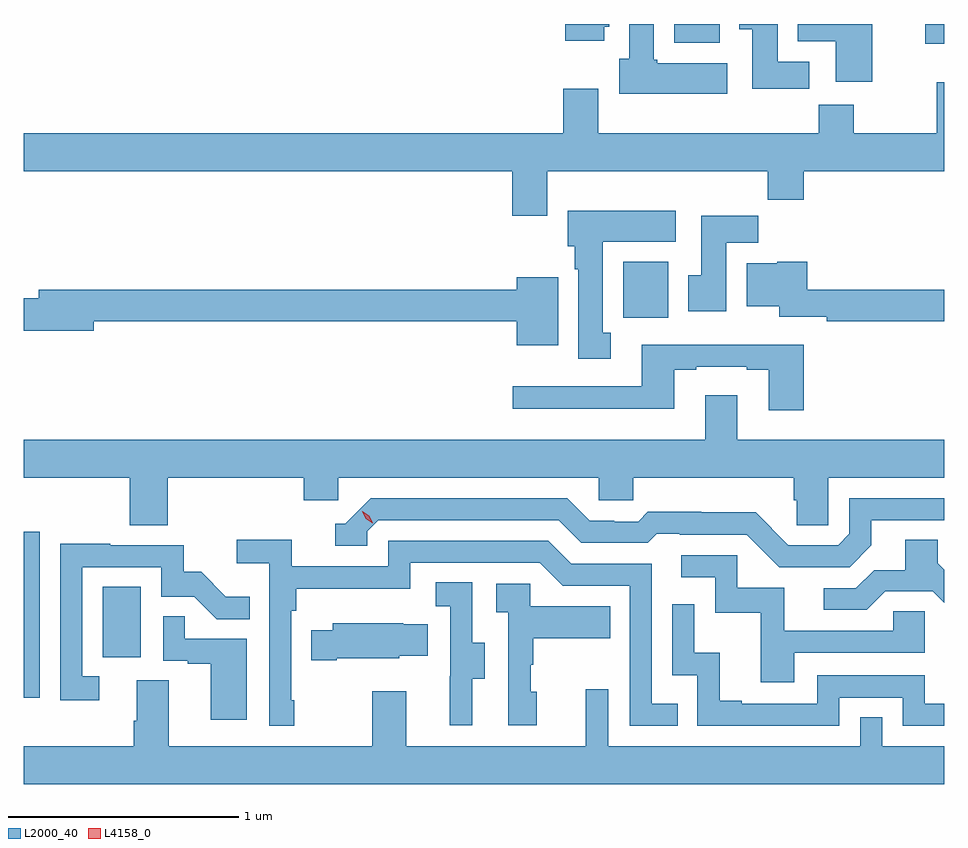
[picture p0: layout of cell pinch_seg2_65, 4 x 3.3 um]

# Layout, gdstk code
import gdstk
lib = gdstk.Library(unit=1e-6, precision=1e-09)
def R(c, l, rs):  # rectangles x0, y0, x1, y1
    for r in rs: c.add(gdstk.rectangle(r[:2], r[2:], *l))
def P(c, l, *ps):  # polygons
    for p in ps: c.add(gdstk.Polygon(p, *l))
L2000_40 = (2000, 40)
L4158_0 = (4158, 0)

pinch_seg2_65 = lib.new_cell('pinch_seg2_65')
R(pinch_seg2_65, L2000_40, [(1031.221,649.344,1031.29,650.065), (1031.564,649.518,1031.728,649.825), (1033.826,650.996,1034.023,651.238), (1035.14,652.187,1035.221,652.272), (1034.048,652.19,1034.245,652.272)])
P(pinch_seg2_65, L2000_40, [(1033.744,652.26),(1033.765,652.26),(1033.765,652.272),(1033.574,652.272),(1033.574,652.2),(1033.744,652.2)],
  [(1034.278,652.102),(1033.974,652.102),(1033.974,652.116),(1033.96,652.116),(1033.96,652.272),(1033.853,652.272),(1033.853,652.122),(1033.808,652.122),(1033.808,651.968),(1034.278,651.968)],
  [(1034.636,652.108),(1034.497,652.108),(1034.497,652.272),(1034.33,652.272),(1034.33,652.249),(1034.387,652.249),(1034.387,651.99),(1034.636,651.99)],
  [(1034.908,652.272),(1034.585,652.272),(1034.585,652.196),(1034.75,652.196),(1034.75,652.02),(1034.908,652.02)],
  [(1033.495,651.632),(1034.455,651.632),(1034.455,651.508),(1034.612,651.508),(1034.612,651.632),(1035.221,651.632),(1035.221,652.018),(1035.189,652.018),(1035.189,651.796),(1034.829,651.796),(1034.829,651.92),(1034.677,651.92),(1034.677,651.796),(1033.717,651.796),(1033.717,651.991),(1033.565,651.991),(1033.565,651.796),(1031.221,651.796),(1031.221,651.632),(1033.343,651.632),(1033.343,651.438),(1033.495,651.438)],
  [(1033.771,650.93),(1033.738,650.93),(1033.738,651.326),(1034.055,651.326),(1034.055,651.46),(1033.586,651.46),(1033.586,651.306),(1033.616,651.306),(1033.616,651.206),(1033.631,651.206),(1033.631,650.817),(1033.771,650.817)],
  [(1034.275,651.32),(1034.414,651.32),(1034.414,651.439),(1034.165,651.439),(1034.165,651.18),(1034.108,651.18),(1034.108,651.024),(1034.275,651.024)],
  [(1035.221,651.116),(1034.627,651.116),(1034.627,651.238),(1034.496,651.238),(1034.496,651.232),(1034.363,651.232),(1034.363,651.044),(1034.504,651.044),(1034.504,651),(1034.71,651),(1034.71,650.98),(1035.221,650.98)],
  [(1033.543,651.172),(1033.364,651.172),(1033.364,651.116),(1031.285,651.116),(1031.285,651.08),(1031.221,651.08),(1031.221,650.938),(1031.524,650.938),(1031.524,650.98),(1033.364,650.98),(1033.364,650.876),(1033.543,650.876)],
  [(1034.612,650.878),(1033.907,650.878),(1033.907,650.697),(1033.347,650.697),(1033.347,650.6),(1034.047,650.6),(1034.047,650.769),(1034.143,650.769),(1034.143,650.781),(1034.363,650.781),(1034.363,650.769),(1034.459,650.769),(1034.459,650.592),(1034.612,650.592)],
  [(1031.221,650.3),(1031.68,650.3),(1031.68,650.092),(1031.846,650.092),(1031.846,650.3),(1032.437,650.3),(1032.437,650.202),(1032.588,650.202),(1032.588,650.3),(1033.719,650.3),(1033.719,650.202),(1033.869,650.202),(1033.869,650.3),(1034.567,650.3),(1034.567,650.202),(1034.581,650.202),(1034.581,650.092),(1034.718,650.092),(1034.718,650.3),(1035.221,650.3),(1035.221,650.464),(1034.323,650.464),(1034.323,650.659),(1034.183,650.659),(1034.183,650.464),(1031.221,650.464)],
  [(1034.905,650.005),(1034.905,650.115),(1035.221,650.115),(1035.221,650.211),(1034.808,650.211),(1034.808,650.055),(1034.76,650.007),(1034.544,650.007),(1034.402,650.149),(1034.166,650.149),(1034.166,650.152),(1033.933,650.152),(1033.891,650.109),(1033.788,650.109),(1033.788,650.112),(1033.681,650.112),(1033.582,650.211),(1032.729,650.211),(1032.618,650.1),(1032.575,650.1),(1032.575,650.004),(1032.714,650.004),(1032.714,650.067),(1032.762,650.115),(1033.545,650.115),(1033.644,650.016),(1033.933,650.016),(1033.972,650.055),(1034.071,650.055),(1034.071,650.052),(1034.364,650.052),(1034.505,649.911),(1034.811,649.911)],
  [(1032.397,649.333),(1032.384,649.333),(1032.384,649.721),(1032.404,649.721),(1032.404,649.817),(1032.9,649.817),(1032.9,649.929),(1033.464,649.929),(1033.563,649.83),(1033.854,649.83),(1033.854,649.221),(1034.063,649.221),(1034.063,649.317),(1033.95,649.317),(1033.95,649.926),(1033.6,649.926),(1033.501,650.025),(1032.804,650.025),(1032.804,649.914),(1032.386,649.914),(1032.386,650.03),(1032.147,650.03),(1032.147,649.928),(1032.288,649.928),(1032.288,649.221),(1032.397,649.221)],
  [(1034.965,649.806),(1035.171,649.806),(1035.221,649.756),(1035.221,649.9),(1035.193,649.928),(1035.193,650.03),(1035.053,650.03),(1035.053,649.898),(1034.918,649.898),(1034.838,649.818),(1034.697,649.818),(1034.697,649.725),(1034.884,649.725)],
  [(1031.548,649.437),(1031.475,649.437),(1031.475,649.911),(1031.817,649.911),(1031.817,649.782),(1031.961,649.782),(1032.059,649.684),(1032.203,649.684),(1032.203,649.783),(1032.099,649.783),(1031.992,649.89),(1031.916,649.89),(1031.916,650.007),(1031.597,650.007),(1031.597,650.012),(1031.379,650.012),(1031.379,649.332),(1031.548,649.332)],
  [(1034.569,649.539),(1035.138,649.539),(1035.138,649.719),(1035.001,649.719),(1035.001,649.635),(1034.527,649.635),(1034.527,649.821),(1034.322,649.821),(1034.322,649.962),(1034.079,649.962),(1034.079,649.866),(1034.226,649.866),(1034.226,649.713),(1034.425,649.713),(1034.425,649.41),(1034.569,649.41)],
  [(1033.171,649.426),(1033.225,649.426),(1033.225,649.581),(1033.17,649.581),(1033.17,649.844),(1033.011,649.844),(1033.011,649.741),(1033.074,649.741),(1033.074,649.437),(1033.073,649.437),(1033.073,649.224),(1033.171,649.224)],
  [(1033.45,649.368),(1033.425,649.368),(1033.425,649.487),(1033.435,649.487),(1033.435,649.601),(1033.769,649.601),(1033.769,649.741),(1033.422,649.741),(1033.422,649.839),(1033.275,649.839),(1033.275,649.715),(1033.326,649.715),(1033.326,649.224),(1033.45,649.224)],
  [(1034.766,649.344),(1035.042,649.344),(1035.042,649.221),(1035.221,649.221),(1035.221,649.317),(1035.138,649.317),(1035.138,649.44),(1034.67,649.44),(1034.67,649.317),(1034.341,649.317),(1034.341,649.33),(1034.246,649.33),(1034.246,649.538),(1034.136,649.538),(1034.136,649.75),(1034.04,649.75),(1034.04,649.44),(1034.148,649.44),(1034.148,649.221),(1034.766,649.221)],
  [(1032.19,649.599),(1031.921,649.599),(1031.921,649.697),(1031.826,649.697),(1031.826,649.503),(1031.933,649.503),(1031.933,649.491),(1032.032,649.491),(1032.032,649.248),(1032.19,649.248)],
  [(1032.58,649.514),(1032.852,649.514),(1032.852,649.526),(1032.977,649.526),(1032.977,649.663),(1032.869,649.663),(1032.869,649.666),(1032.563,649.666),(1032.563,649.636),(1032.469,649.636),(1032.469,649.507),(1032.58,649.507)],
  [(1035.221,649.132),(1034.952,649.132),(1034.952,649.259),(1034.856,649.259),(1034.856,649.132),(1033.761,649.132),(1033.761,649.381),(1033.664,649.381),(1033.664,649.132),(1032.883,649.132),(1032.883,649.372),(1032.736,649.372),(1032.736,649.132),(1031.851,649.132),(1031.851,649.418),(1031.711,649.418),(1031.711,649.244),(1031.699,649.244),(1031.699,649.132),(1031.221,649.132),(1031.221,648.968),(1035.221,648.968)])
P(pinch_seg2_65, L4158_0, [(1032.738,650.101),(1032.708,650.121),(1032.692,650.153),(1032.692,650.154),(1032.692,650.154),(1032.723,650.134),(1032.738,650.102),(1032.738,650.101)])

lib.write_gds('pinch_seg2_65.gds')
